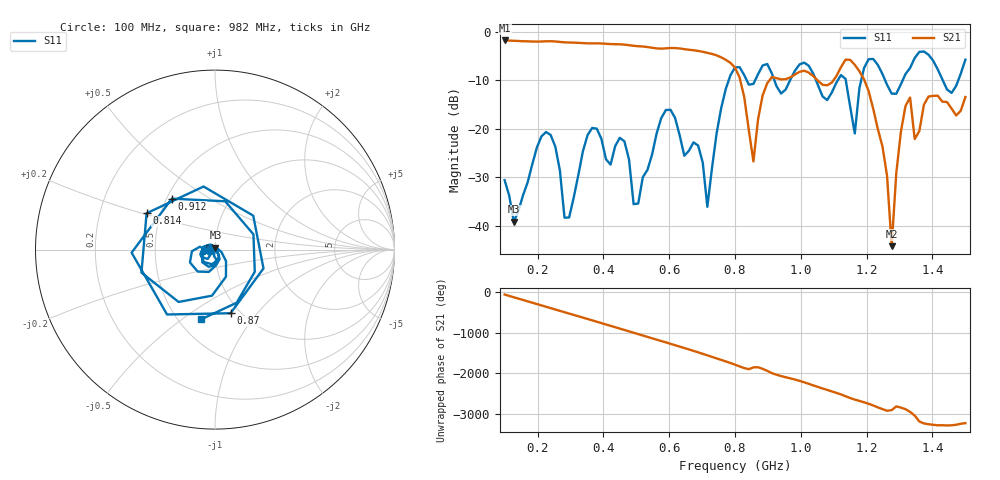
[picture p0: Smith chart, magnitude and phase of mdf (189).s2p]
! NanoVNA-App
! Date: 2025-09-26 09:41:12
! Start: 100MHz Stop: 1,5GHz Points: 101
! S-Parameter data: F S11 S21 S12 S22
# Hz S RI R 50
!  Frequency  S11_Real  S11_Imag  S21_Real  S21_Imag  S12_Real  S12_Imag  S22_Real  S22_Imag
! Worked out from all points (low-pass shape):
!   101 points, 100 MHz to 1.5 GHz, reference 50 ohm
!   highest |S21| = -1.79 dB at 100 MHz (marker M1); lowest = -44.3 dB at 1.276 GHz (marker M2)
!   |S21| within 3 dB of the highest: start of sweep to 740.7 MHz
!   lowest |S11| = -39.2 dB at 128 MHz (marker M3), VSWR 1.02, Z = 50.3 + j1.07 ohm
!   |S11| at or under -10 dB: start of sweep to 781 MHz; 1.046 GHz to 1.112 GHz (66.47 MHz wide, 6.16 % of centre); 1.256 GHz to 1.31 GHz (53.48 MHz wide, 4.17 % of centre)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
!   S12 and S22 are empty: the file has one direction only
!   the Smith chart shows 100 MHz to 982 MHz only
!   S11 on the Smith chart (normalised r, x): 100 MHz: 0.94, -0.01; 814 MHz: 0.42, +0.21; 870 MHz: 0.90, -0.74; 912 MHz: 0.53, +0.35; 982 MHz: 0.64, -0.59
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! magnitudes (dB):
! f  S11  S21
! 100 MHz  -30.6  -1.8
! 128 MHz  -39.2  -1.9
! 212 MHz  -21.6  -2.0
! 282 MHz  -38.4  -2.2
! 338 MHz  -24.6  -2.3
! 464 MHz  -22.6  -2.7
! 506 MHz  -35.4  -3.0
! 576 MHz  -17.8  -3.5
! 716 MHz  -36.1  -4.3
! 800 MHz  -7.3  -7.4
! 814 MHz  -7.3  -9.4
! 856 MHz  -10.8  -26.8
! 870 MHz  -8.8  -18.1
! 912 MHz  -8.6  -9.3
! 982 MHz  -8.1  -8.8
! 1.038 GHz  -8.7  -9.1
! 1.164 GHz  -21.0  -6.8
! 1.192 GHz  -7.5  -9.8
! 1.248 GHz  -8.7  -23.6
! 1.276 GHz  -12.8  -44.3
! 1.318 GHz  -8.7  -15.3
! 1.5 GHz  -5.8  -13.5
